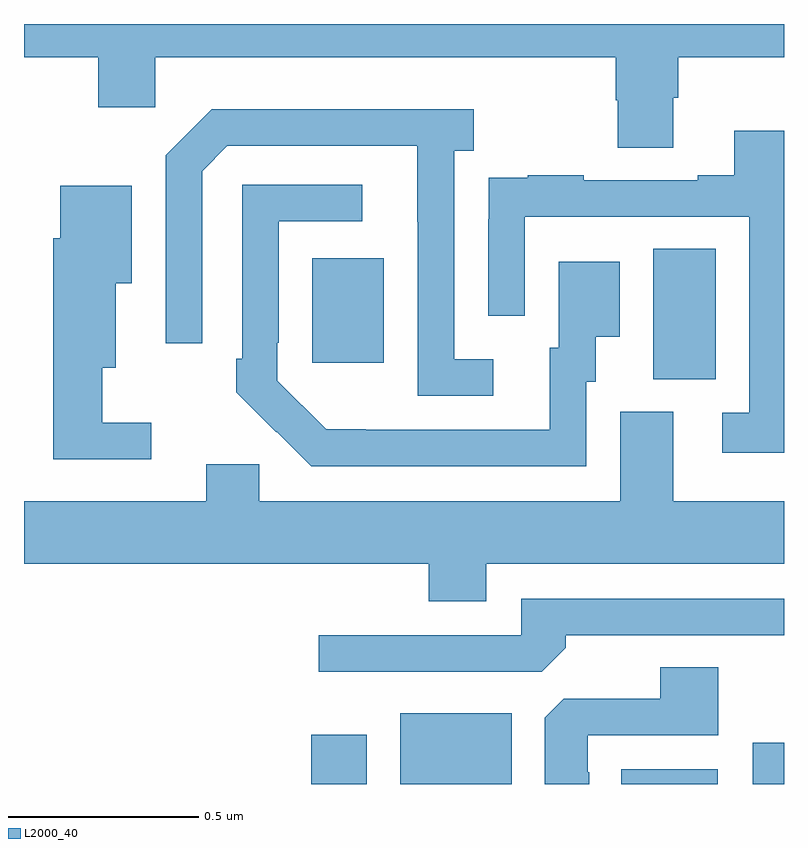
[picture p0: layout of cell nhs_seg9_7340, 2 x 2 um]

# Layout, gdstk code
import gdstk
lib = gdstk.Library(unit=1e-6, precision=1e-09)
def R(c, l, rs):  # rectangles x0, y0, x1, y1
    for r in rs: c.add(gdstk.rectangle(r[:2], r[2:], *l))
def P(c, l, *ps):  # polygons
    for p in ps: c.add(gdstk.Polygon(p, *l))
L2000_40 = (2000, 40)

nhs_seg9_7340 = lib.new_cell('nhs_seg9_7340')
R(nhs_seg9_7340, L2000_40, [(203.756,1202.5,203.902,1202.629), (203.99,1202.5,204.283,1202.686), (204.572,1202.5,204.826,1202.539), (204.918,1202.5,205,1202.608), (204.656,1203.565,204.82,1203.908), (203.759,1203.609,203.947,1203.883)])
P(nhs_seg9_7340, L2000_40, [(204.709,1204.306),(204.722,1204.306),(204.722,1204.412),(205,1204.412),(205,1204.5),(203,1204.5),(203,1204.412),(203.195,1204.412),(203.195,1204.281),(203.346,1204.281),(203.346,1204.412),(204.557,1204.412),(204.557,1204.299),(204.562,1204.299),(204.562,1204.174),(204.709,1204.174)],
  [(204.235,1203.618),(204.132,1203.618),(204.132,1204.166),(204.184,1204.166),(204.184,1204.276),(203.494,1204.276),(203.373,1204.155),(203.373,1203.66),(203.469,1203.66),(203.469,1204.113),(203.535,1204.179),(204.035,1204.179),(204.035,1203.979),(204.036,1203.979),(204.036,1203.522),(204.235,1203.522)],
  [(205,1204.219),(204.869,1204.219),(204.869,1204.102),(204.773,1204.102),(204.773,1204.089),(204.473,1204.089),(204.473,1204.102),(204.325,1204.102),(204.325,1204.095),(204.223,1204.095),(204.223,1203.986),(204.222,1203.986),(204.222,1203.732),(204.318,1203.732),(204.318,1203.993),(204.909,1203.993),(204.909,1203.477),(204.837,1203.477),(204.837,1203.372),(205,1203.372)],
  [(204.48,1203.558),(204.505,1203.558),(204.505,1203.677),(204.568,1203.677),(204.568,1203.874),(204.407,1203.874),(204.407,1203.648),(204.383,1203.648),(204.383,1203.432),(203.899,1203.432),(203.899,1203.433),(203.796,1203.433),(203.667,1203.561),(203.667,1203.661),(203.67,1203.661),(203.67,1203.981),(203.89,1203.981),(203.89,1204.077),(203.574,1204.077),(203.574,1203.619),(203.559,1203.619),(203.559,1203.531),(203.664,1203.426),(203.665,1203.427),(203.756,1203.336),(204.48,1203.336)],
  [(203.335,1203.451),(203.206,1203.451),(203.206,1203.596),(203.242,1203.596),(203.242,1203.818),(203.284,1203.818),(203.284,1204.075),(203.096,1204.075),(203.096,1203.936),(203.077,1203.936),(203.077,1203.354),(203.335,1203.354)],
  [(204.217,1203.08),(205,1203.08),(205,1203.244),(204.709,1203.244),(204.709,1203.48),(204.569,1203.48),(204.569,1203.244),(203.619,1203.244),(203.619,1203.342),(203.48,1203.342),(203.48,1203.244),(203,1203.244),(203,1203.08),(204.065,1203.08),(204.065,1202.981),(204.217,1202.981)],
  [(204.425,1202.858),(204.425,1202.892),(205,1202.892),(205,1202.988),(204.309,1202.988),(204.309,1202.892),(203.775,1202.892),(203.775,1202.796),(204.363,1202.796)],
  [(204.487,1202.531),(204.483,1202.531),(204.483,1202.628),(204.827,1202.628),(204.827,1202.807),(204.674,1202.807),(204.674,1202.724),(204.42,1202.724),(204.371,1202.675),(204.371,1202.5),(204.487,1202.5)])

lib.write_gds('nhs_seg9_7340.gds')
